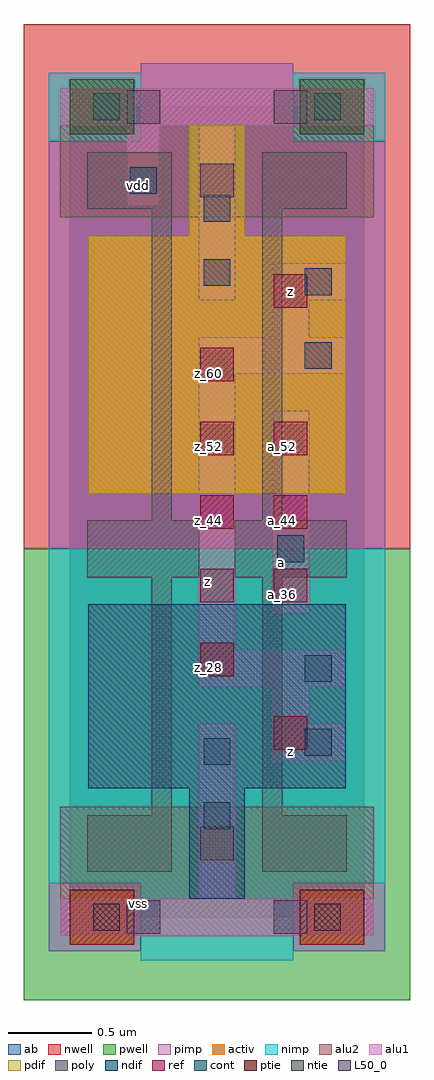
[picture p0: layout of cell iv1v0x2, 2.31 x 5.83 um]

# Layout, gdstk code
import gdstk
lib = gdstk.Library(unit=1e-6, precision=2.5e-09)
def R(c, l, rs):  # rectangles x0, y0, x1, y1
    for r in rs: c.add(gdstk.rectangle(r[:2], r[2:], *l))
def A(c, l, x, y, w, h, nx, ny, dx, dy):  # array of equal rectangles
    R(c, l, [(x+i*dx, y+j*dy, x+i*dx+w, y+j*dy+h) for i in range(nx) for j in range(ny)])
ndif = (3, 0)
pdif = (4, 0)
ntie = (5, 0)
ptie = (6, 0)
ref = (24, 0)
cont = (25, 0)
pwell = (41, 0)
nwell = (42, 0)
activ = (43, 0)
pimp = (44, 0)
nimp = (45, 0)
poly = (46, 0)
alu1 = (49, 0)
L50_0 = (50, 0)
alu2 = (51, 0)
ab = (63, 0)

iv1v0x2 = lib.new_cell('iv1v0x2')
R(iv1v0x2, ndif, [(0.715,0.11,1.045,0.77), (0.11,0.77,1.65,1.87)])
R(iv1v0x2, pdif, [(0.11,2.53,1.65,4.07), (0.715,4.07,1.045,4.73)])
R(iv1v0x2, ntie, [(0,4.675,0.385,5.005), (1.375,4.675,1.76,5.005)])
R(iv1v0x2, ptie, [(0,-0.165,0.385,0.165), (1.375,-0.165,1.76,0.165)])
A(iv1v0x2, ref, 0.78, 1.44, 0.2, 0.2, 1, 5, 0, 0.44)
A(iv1v0x2, ref, 1.22, 1.88, 0.2, 0.2, 1, 3, 0, 0.44)
R(iv1v0x2, ref, [(1.22,1,1.42,1.2), (1.22,3.64,1.42,3.84)])
R(iv1v0x2, cont, [(0.14,-0.08,0.3,0.08), (1.46,-0.08,1.62,0.08), (0.8,0.525,0.96,0.685), (0.8,0.91,0.96,1.07), (1.405,0.965,1.565,1.125), (1.405,1.405,1.565,1.565), (1.24,2.12,1.4,2.28), (1.405,3.275,1.565,3.435), (1.405,3.715,1.565,3.875), (0.8,3.77,0.96,3.93), (0.8,4.155,0.96,4.315), (0.36,4.32,0.52,4.48), (0.14,4.76,0.3,4.92), (1.46,4.76,1.62,4.92)])
R(iv1v0x2, pwell, [(-0.275,-0.495,2.035,2.2)])
R(iv1v0x2, nwell, [(-0.275,2.2,2.035,5.335)])
R(iv1v0x2, activ, [(0,-0.165,0.385,0.165), (1.375,-0.165,1.76,0.165), (0.715,0.11,1.045,0.77), (0.11,0.77,1.65,1.87), (0.11,2.53,1.65,4.07), (0.715,4.07,1.045,4.73), (0,4.675,0.385,5.005), (1.375,4.675,1.76,5.005)])
R(iv1v0x2, pimp, [(-0.125,-0.205,0.425,0.205), (1.335,-0.205,1.885,0.205), (-0.125,2.2,1.885,4.635), (0.425,4.635,1.335,5.1)])
R(iv1v0x2, nimp, [(0.425,-0.26,1.335,0.205), (-0.125,0.205,1.885,2.2), (-0.125,4.635,0.425,5.045), (1.335,4.635,1.885,5.045)])
R(iv1v0x2, poly, [(0.105,0.27,0.61,0.61), (1.15,0.27,1.655,0.61), (0.49,0.61,0.61,2.03), (1.15,0.61,1.27,2.03), (0.105,2.03,0.775,2.37), (0.985,2.03,1.655,2.37), (0.49,2.37,0.61,4.23), (1.15,2.37,1.27,4.23), (0.105,4.23,0.61,4.57), (1.15,4.23,1.655,4.57)])
R(iv1v0x2, alu1, [(-0.055,-0.11,1.815,0.11), (0.77,0.11,0.99,1.155), (1.21,0.935,1.65,1.155), (1.21,1.155,1.43,1.375), (0.77,1.375,1.65,1.595), (0.77,1.595,0.99,3.245), (1.21,1.815,1.43,3.025), (0.77,3.245,1.65,3.465), (1.21,3.465,1.43,3.685), (0.77,3.685,0.99,4.73), (1.21,3.685,1.65,3.905), (0.345,4.25,0.535,4.73), (-0.055,4.73,1.815,4.95)])
R(iv1v0x2, L50_0, [(0.34,-0.1,0.54,0.1), (1.22,-0.1,1.42,0.1), (0.78,0.34,0.98,0.54), (0.78,4.3,0.98,4.5), (0.34,4.74,0.54,4.94), (1.22,4.74,1.42,4.94)])
R(iv1v0x2, alu2, [(-0.055,-0.11,1.815,0.66), (-0.055,4.18,1.815,4.95)])
R(iv1v0x2, ab, [(0,0,1.76,4.84)])
iv1v0x2.add(gdstk.Label('z', (1.32,0.99), layer=49, texttype=0))
iv1v0x2.add(gdstk.Label('a', (1.265,2.1175), layer=49, texttype=0))
iv1v0x2.add(gdstk.Label('z', (0.825,2.0075), layer=49, texttype=0))
iv1v0x2.add(gdstk.Label('z', (1.32,3.74), layer=49, texttype=0))
iv1v0x2.add(gdstk.Label('vss', (0.4125,0.0825), layer=51, texttype=0))
iv1v0x2.add(gdstk.Label('vdd', (0.4125,4.3725), layer=51, texttype=0))
iv1v0x2.add(gdstk.Label('z_68', (1.27,3.69), layer=24, texttype=0))
iv1v0x2.add(gdstk.Label('a_52', (1.27,2.81), layer=24, texttype=0))
iv1v0x2.add(gdstk.Label('a_36', (1.27,1.93), layer=24, texttype=0))
iv1v0x2.add(gdstk.Label('a_44', (1.27,2.37), layer=24, texttype=0))
iv1v0x2.add(gdstk.Label('z_36', (0.83,1.93), layer=24, texttype=0))
iv1v0x2.add(gdstk.Label('z_44', (0.83,2.37), layer=24, texttype=0))
iv1v0x2.add(gdstk.Label('z_52', (0.83,2.81), layer=24, texttype=0))
iv1v0x2.add(gdstk.Label('z_60', (0.83,3.25), layer=24, texttype=0))
iv1v0x2.add(gdstk.Label('z_20', (1.27,1.05), layer=24, texttype=0))
iv1v0x2.add(gdstk.Label('z_28', (0.83,1.49), layer=24, texttype=0))

lib.write_gds('iv1v0x2.gds')
